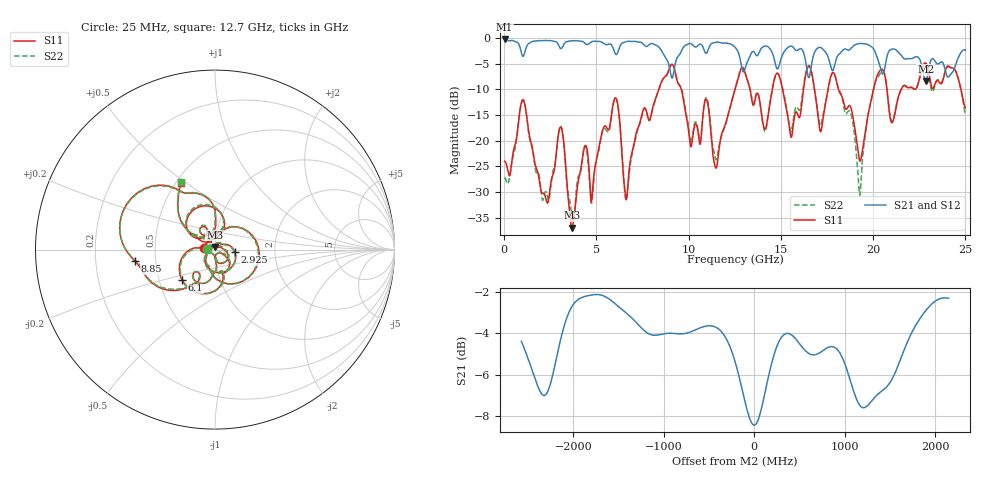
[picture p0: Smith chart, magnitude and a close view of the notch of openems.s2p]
! R_s4_rect_cap5: Finite board 24 × 16 mm, via L1 → L4, a capacitor between the planes 5 mm away, no return via
! stackup: 4-layer 1.6 mm FR-4
! ports: 1 L1, 2 L4
! openEMS 0.37.0, staircase, fine mesh (dfine 0.035 mm), 1187450 cells
# Hz S RI R 50
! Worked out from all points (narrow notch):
!   1000 points, 25 MHz to 25 GHz, reference 50 ohm
!   highest |S21| = -0.20 dB at 25 MHz (marker M1); lowest = -8.5 dB at 22.85 GHz (marker M2)
!   notch at M2: 6.5 dB deep, 430 MHz wide at half that depth
!   lowest |S11| = -36.9 dB at 3.675 GHz (marker M3), VSWR 1.03, Z = 49.9 + j1.42 ohm
!   |S11| at or under -10 dB: start of sweep to 8.378 GHz; 9.602 GHz to 12.51 GHz (2.911 GHz wide, 26.3 % of centre); 18.12 GHz to 20.02 GHz (1.896 GHz wide, 9.94 % of centre) (the widest 3 of 8)
!   |S22| runs from -35.6 to -5.0 dB; largest |S21 - S12| = 0.019
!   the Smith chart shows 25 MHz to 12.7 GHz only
!   S11 on the Smith chart (normalised r, x): 25 MHz: 0.88, +0.02; 2.925 GHz: 1.25, -0.03; 6.1 GHz: 0.66, -0.24; 8.85 GHz: 0.38, -0.06; 12.7 GHz: 0.53, +0.48
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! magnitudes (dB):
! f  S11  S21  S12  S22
! 25 MHz  -24.0  -0.2  -0.4  -27.1
! 1 GHz  -12.0  -3.5  -3.4  -12.2
! 2.275 GHz  -31.5  -0.5  -0.5  -30.0
! 2.925 GHz  -19.0  -1.2  -1.2  -19.3
! 3.675 GHz  -36.9  -0.5  -0.5  -34.5
! 4.2 GHz  -24.5  -0.6  -0.6  -24.9
! 6.1 GHz  -12.0  -3.2  -3.2  -12.1
! 6.625 GHz  -31.5  -0.7  -0.7  -31.4
! 8.35 GHz  -10.3  -1.7  -1.7  -10.4
! 8.85 GHz  -6.9  -4.4  -4.4  -7.0
! 11.45 GHz  -25.2  -0.9  -0.8  -23.4
! 12.53 GHz  -9.9  -1.8  -1.8  -9.7
! 12.7 GHz  -7.6  -2.9  -2.9  -7.5
! 15.55 GHz  -19.3  -1.5  -1.6  -18.2
! 16.68 GHz  -6.9  -4.9  -4.8  -6.8
! 17.15 GHz  -18.3  -1.8  -1.8  -17.1
! 17.93 GHz  -7.2  -5.1  -5.1  -7.2
! 19.27 GHz  -24.0  -1.1  -1.0  -30.6
! 20.18 GHz  -7.8  -3.3  -3.3  -8.1
! 20.85 GHz  -13.5  -2.6  -2.6  -13.4
! 22.85 GHz  -4.9  -8.5  -8.4  -5.1
! 25 GHz  -13.6  -2.3  -2.3  -15.0
